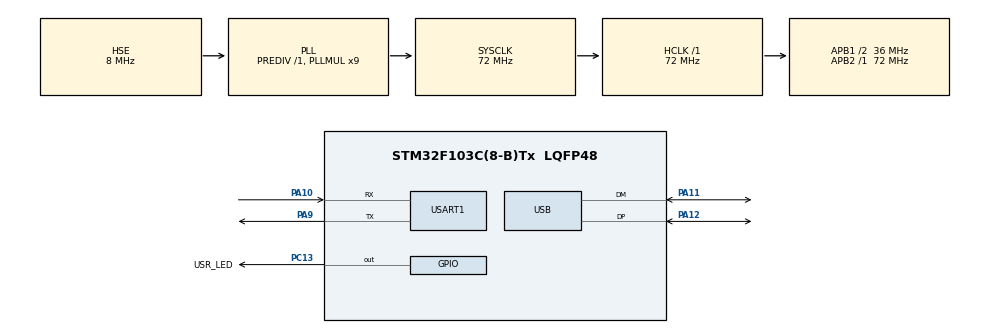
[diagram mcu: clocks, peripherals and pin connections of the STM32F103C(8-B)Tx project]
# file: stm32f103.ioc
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Mcu.Family=STM32F1
Mcu.Name=STM32F103C(8-B)Tx
Mcu.Package=LQFP48
NVIC.PriorityGroup=NVIC_PRIORITYGROUP_4
NVIC.USART1_IRQn=true\:0\:0\:false\:false\:true\:true\:true
NVIC.USB_LP_CAN1_RX0_IRQn=true\:0\:0\:false\:false\:true\:false\:true
PA10.Mode=Asynchronous
PA10.Signal=USART1_RX
PA11.Mode=Device
PA11.Signal=USB_DM
PA12.Mode=Device
PA12.Signal=USB_DP
PA13.Mode=Serial_Wire
PA13.Signal=SYS_JTMS-SWDIO
PA14.Mode=Serial_Wire
PA14.Signal=SYS_JTCK-SWCLK
PA9.Mode=Asynchronous
PA9.Signal=USART1_TX
PC13-TAMPER-RTC.GPIO_Label=USR_LED
PC13-TAMPER-RTC.GPIO_Speed=GPIO_SPEED_FREQ_HIGH
PC13-TAMPER-RTC.PinState=GPIO_PIN_RESET
PC13-TAMPER-RTC.Signal=GPIO_Output
PD0-OSC_IN.Mode=HSE-External-Oscillator
PD0-OSC_IN.Signal=RCC_OSC_IN
PD1-OSC_OUT.Mode=HSE-External-Oscillator
PD1-OSC_OUT.Signal=RCC_OSC_OUT
ProjectManager.HeapSize=0x200
ProjectManager.StackSize=0x400
ProjectManager.TargetToolchain=STM32CubeIDE
RCC.AHBFreq_Value=72000000
RCC.APB1CLKDivider=RCC_HCLK_DIV2
RCC.APB1Freq_Value=36000000
RCC.APB1TimFreq_Value=72000000
RCC.APB2Freq_Value=72000000
RCC.APB2TimFreq_Value=72000000
RCC.HCLKFreq_Value=72000000
RCC.PLLMUL=RCC_PLL_MUL9
RCC.PLLSourceVirtual=RCC_PLLSOURCE_HSE
RCC.SYSCLKFreq_VALUE=72000000
RCC.SYSCLKSource=RCC_SYSCLKSOURCE_PLLCLK
RCC.USBFreq_Value=48000000
RCC.USBPrescaler=RCC_USBCLKSOURCE_PLL_DIV1_5
USART1.VirtualMode=VM_ASYNC
USB_DEVICE.CLASS_NAME_FS=CUSTOM_HID
USB_DEVICE.MANUFACTURER_STRING=STMicroelectronics
USB_DEVICE.PID_CUSTOMHID_FS=65297 
USB_DEVICE.USBD_SELF_POWERED=0
USB_DEVICE.VirtualMode=CustomHid
USB_DEVICE.VirtualModeFS=Custom_Hid_FS
VP_USB_DEVICE_VS_USB_DEVICE_CUSTOM_HID_FS.Mode=CUSTOM_HID_FS
board=custom

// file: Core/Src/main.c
/* USER CODE BEGIN Header */
/**
  ******************************************************************************
  * @file           : main.c
  * @brief          : Main program body
  ******************************************************************************
  * @attention
  *
  * <h2><center>&copy; Copyright (c) 2020 STMicroelectronics.
  * All rights reserved.</center></h2>
  *
  * This software component is licensed by ST under BSD 3-Clause license,
  * the "License"; You may not use this file except in compliance with the
  * License. You may obtain a copy of the License at:
  *                        opensource.org/licenses/BSD-3-Clause
  *
  ******************************************************************************
  */
/* USER CODE END Header */

#include "main.h"
#include "usb_device.h"

/* USER CODE BEGIN Includes */
#include "usbd_customhid.h"
/* USER CODE END Includes */

UART_HandleTypeDef huart1;

/* USER CODE BEGIN PV */
extern USBD_HandleTypeDef hUsbDeviceFS;
uint8_t USB_RX_Ready;
uint8_t USB_RX_Buffer[USBD_CUSTOMHID_OUTREPORT_BUF_SIZE];
uint8_t USB_TX_Buffer[USBD_CUSTOMHID_OUTREPORT_BUF_SIZE];
/* USER CODE END PV */

void SystemClock_Config(void);
static void MX_GPIO_Init(void);
static void MX_USART1_UART_Init(void);

int main(void)
{

  /* MCU Configuration--------------------------------------------------------*/

  /* Reset of all peripherals, Initializes the Flash interface and the Systick. */
  HAL_Init();

  /* Configure the system clock */
  SystemClock_Config();

  /* Initialize all configured peripherals */
  MX_GPIO_Init();
  MX_USB_DEVICE_Init();
  MX_USART1_UART_Init();

  /* Infinite loop */
  /* USER CODE BEGIN WHILE */
  memset(USB_RX_Buffer,0,64);

  sprintf(USB_TX_Buffer,"Hello from STM32!");

  while (1)
  {
    /* USER CODE END WHILE */

    /* USER CODE BEGIN 3 */

	  if(USB_RX_Ready)
	  {
		  HAL_UART_Transmit(&huart1, "Data: ", 7, 10);
		  HAL_UART_Transmit(&huart1, USB_RX_Buffer, 64, 50);
		  HAL_UART_Transmit(&huart1, "\n", 2, 10);
		  USB_RX_Ready = 0;
		  if(USB_RX_Buffer[0] == '0')
		  {
			  HAL_GPIO_WritePin(USR_LED_GPIO_Port, USR_LED_Pin, GPIO_PIN_RESET);
		  }else if(USB_RX_Buffer[0] == '1')
		  {
			  HAL_GPIO_WritePin(USR_LED_GPIO_Port, USR_LED_Pin, GPIO_PIN_SET);
		  }else
		  {

		  }

	  }
	  USBD_CUSTOM_HID_SendReport(&hUsbDeviceFS,USB_TX_Buffer, 64);
	  HAL_Delay(10);
  }
  /* USER CODE END 3 */
}

void SystemClock_Config(void)
{
  RCC_OscInitTypeDef RCC_OscInitStruct = {0};
  RCC_ClkInitTypeDef RCC_ClkInitStruct = {0};
  RCC_PeriphCLKInitTypeDef PeriphClkInit = {0};

  /** Initializes the CPU, AHB and APB busses clocks
  */
  RCC_OscInitStruct.OscillatorType = RCC_OSCILLATORTYPE_HSE;
  RCC_OscInitStruct.HSEState = RCC_HSE_ON;
  RCC_OscInitStruct.HSEPredivValue = RCC_HSE_PREDIV_DIV1;
  RCC_OscInitStruct.HSIState = RCC_HSI_ON;
  RCC_OscInitStruct.PLL.PLLState = RCC_PLL_ON;
  RCC_OscInitStruct.PLL.PLLSource = RCC_PLLSOURCE_HSE;
  RCC_OscInitStruct.PLL.PLLMUL = RCC_PLL_MUL9;
  if (HAL_RCC_OscConfig(&RCC_OscInitStruct) != HAL_OK)
  {
    Error_Handler();
  }
  /** Initializes the CPU, AHB and APB busses clocks
  */
  RCC_ClkInitStruct.ClockType = RCC_CLOCKTYPE_HCLK|RCC_CLOCKTYPE_SYSCLK
                              |RCC_CLOCKTYPE_PCLK1|RCC_CLOCKTYPE_PCLK2;
  RCC_ClkInitStruct.SYSCLKSource = RCC_SYSCLKSOURCE_PLLCLK;
  RCC_ClkInitStruct.AHBCLKDivider = RCC_SYSCLK_DIV1;
  RCC_ClkInitStruct.APB1CLKDivider = RCC_HCLK_DIV2;
  RCC_ClkInitStruct.APB2CLKDivider = RCC_HCLK_DIV1;

  if (HAL_RCC_ClockConfig(&RCC_ClkInitStruct, FLASH_LATENCY_2) != HAL_OK)
  {
    Error_Handler();
  }
  PeriphClkInit.PeriphClockSelection = RCC_PERIPHCLK_USB;
  PeriphClkInit.UsbClockSelection = RCC_USBCLKSOURCE_PLL_DIV1_5;
  if (HAL_RCCEx_PeriphCLKConfig(&PeriphClkInit) != HAL_OK)
  {
    Error_Handler();
  }
}

static void MX_USART1_UART_Init(void)
{

  huart1.Instance = USART1;
  huart1.Init.BaudRate = 115200;
  huart1.Init.WordLength = UART_WORDLENGTH_8B;
  huart1.Init.StopBits = UART_STOPBITS_1;
  huart1.Init.Parity = UART_PARITY_NONE;
  huart1.Init.Mode = UART_MODE_TX_RX;
  huart1.Init.HwFlowCtl = UART_HWCONTROL_NONE;
  huart1.Init.OverSampling = UART_OVERSAMPLING_16;
  if (HAL_UART_Init(&huart1) != HAL_OK)
  {
    Error_Handler();
  }

}

static void MX_GPIO_Init(void)
{
  GPIO_InitTypeDef GPIO_InitStruct = {0};

  /* GPIO Ports Clock Enable */
  __HAL_RCC_GPIOC_CLK_ENABLE();
  __HAL_RCC_GPIOD_CLK_ENABLE();
  __HAL_RCC_GPIOA_CLK_ENABLE();

  /*Configure GPIO pin Output Level */
  HAL_GPIO_WritePin(USR_LED_GPIO_Port, USR_LED_Pin, GPIO_PIN_RESET);

  /*Configure GPIO pin : USR_LED_Pin */
  GPIO_InitStruct.Pin = USR_LED_Pin;
  GPIO_InitStruct.Mode = GPIO_MODE_OUTPUT_PP;
  GPIO_InitStruct.Pull = GPIO_NOPULL;
  GPIO_InitStruct.Speed = GPIO_SPEED_FREQ_HIGH;
  HAL_GPIO_Init(USR_LED_GPIO_Port, &GPIO_InitStruct);

}

void Error_Handler(void)
{
}

/************************ (C) COPYRIGHT STMicroelectronics *****END OF FILE****/
